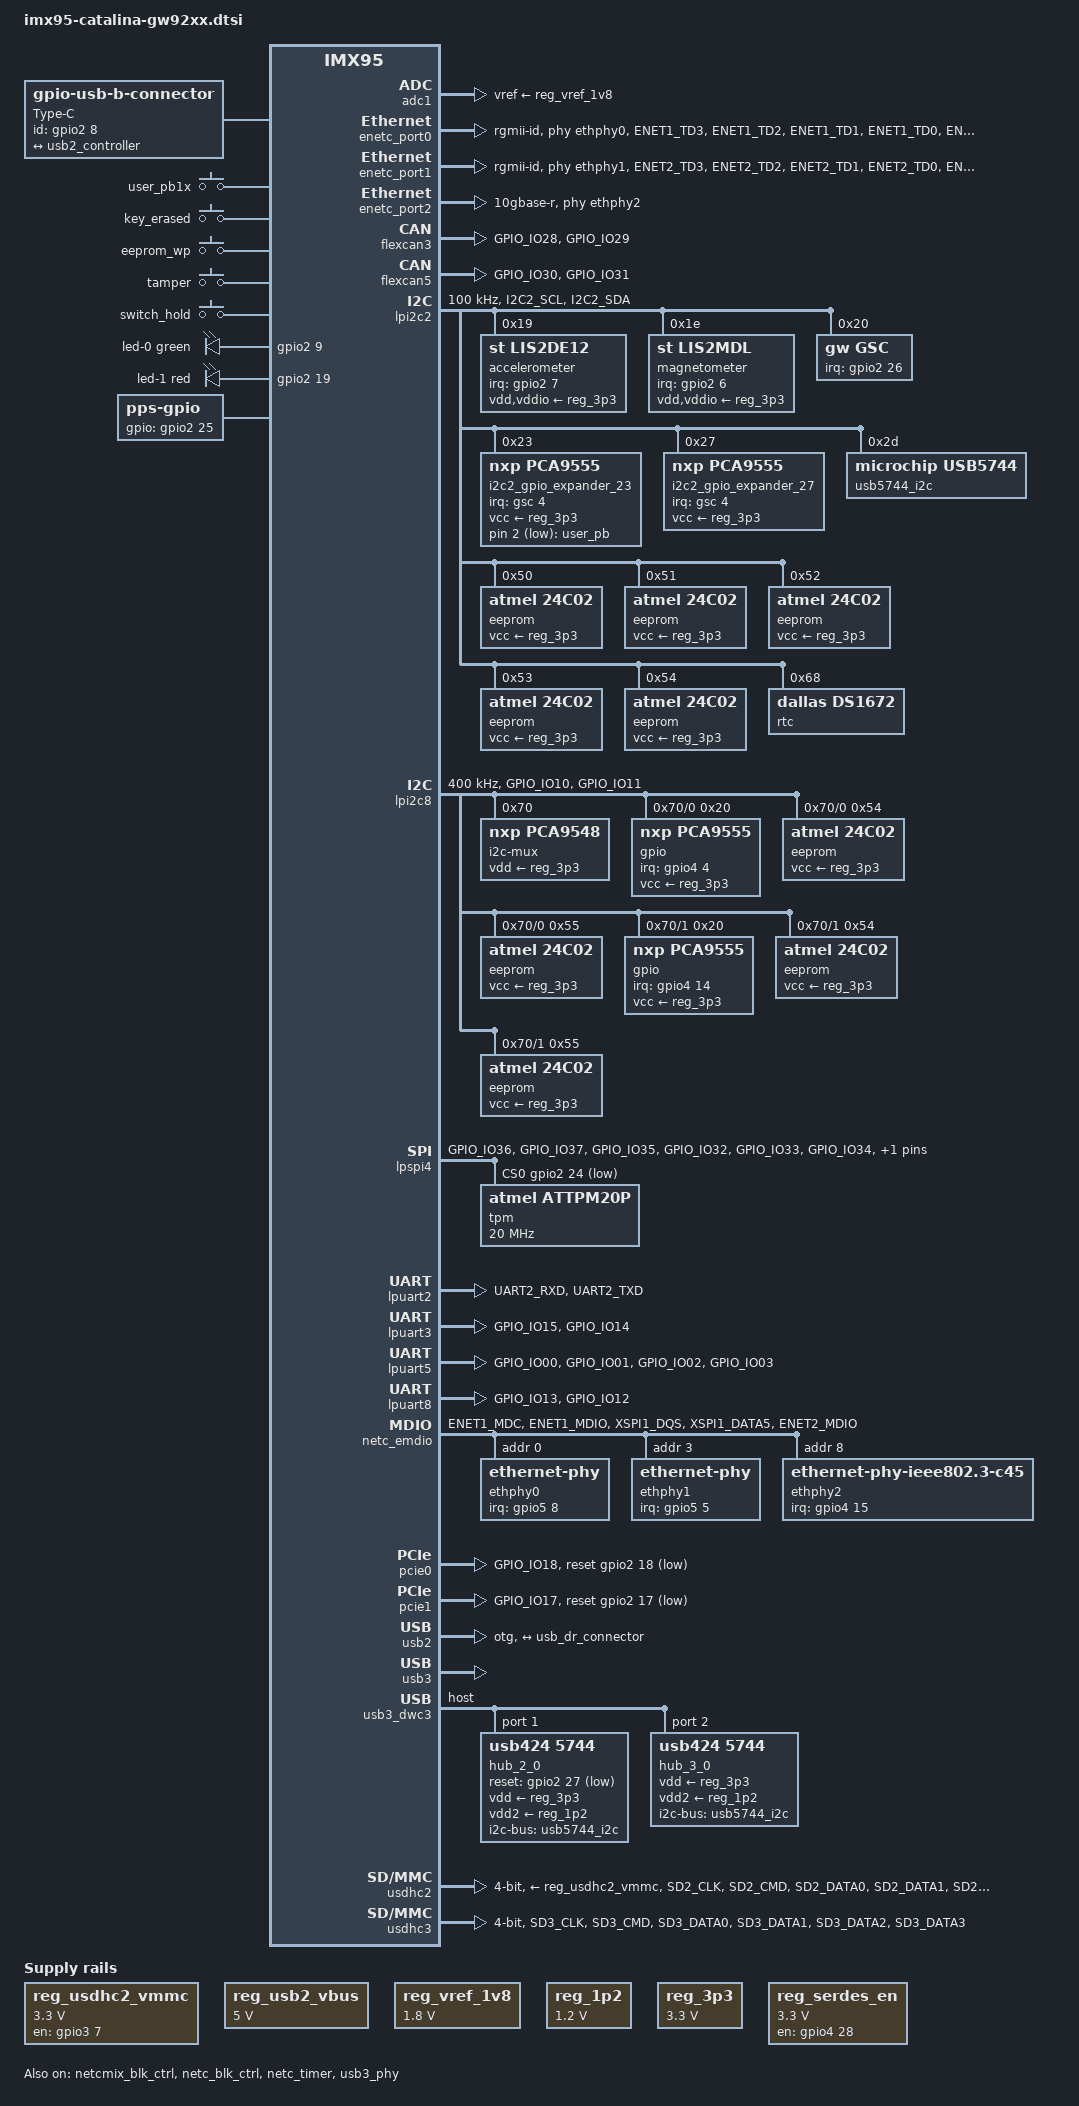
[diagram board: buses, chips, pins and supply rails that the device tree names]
// SPDX-License-Identifier: (GPL-2.0+ OR MIT)
/*
 * Copyright 2025 Gateworks Corporation
 */

#include <dt-bindings/gpio/gpio.h>
#include <dt-bindings/leds/common.h>
#include <dt-bindings/net/ti-dp83867.h>
#include <dt-bindings/pwm/pwm.h>

/ {
	aliases {
		ethernet0 = &enetc_port0;
		ethernet1 = &enetc_port1;
		ethernet2 = &enetc_port2;
		fsa1 = &fsa0;
		fsa2 = &fsa1;
		gpio0 = &gpio1;
		gpio1 = &gpio2;
		gpio2 = &gpio3;
		gpio3 = &gpio4;
		gpio4 = &gpio5;
		i2c0 = &lpi2c1;
		i2c1 = &lpi2c2;
		i2c2 = &lpi2c3;
		i2c3 = &lpi2c4;
		i2c4 = &lpi2c5;
		i2c5 = &lpi2c6;
		i2c6 = &lpi2c7;
		i2c7 = &lpi2c8;
		mmc0 = &usdhc1;
		mmc1 = &usdhc2;
		serial0 = &lpuart1;
		serial1 = &lpuart2;
		serial2 = &lpuart3;
		serial3 = &lpuart4;
		serial4 = &lpuart5;
		serial5 = &lpuart6;
		serial6 = &lpuart7;
		serial7 = &lpuart8;
	};

	connector {
		pinctrl-names = "default";
		pinctrl-0 = <&pinctrl_usbcon>;
		compatible = "gpio-usb-b-connector", "usb-b-connector";
		type = "micro";
		label = "Type-C";
		id-gpios = <&gpio2 8 GPIO_ACTIVE_HIGH>;

		port {
			usb_dr_connector: endpoint {
				remote-endpoint = <&usb2_controller>;
			};
		};
	};

	gpio-keys {
		compatible = "gpio-keys";

		key-0 {
			label = "user_pb";
			gpios = <&i2c2_gpio_expander_23 2 GPIO_ACTIVE_LOW>;
			linux,code = <BTN_0>;
		};

		key-1 {
			label = "user_pb1x";
			linux,code = <BTN_1>;
			interrupt-parent = <&gsc>;
			interrupts = <0>;
		};

		key-2 {
			label = "key_erased";
			linux,code = <BTN_2>;
			interrupt-parent = <&gsc>;
			interrupts = <1>;
		};

		key-3 {
			label = "eeprom_wp";
			linux,code = <BTN_3>;
			interrupt-parent = <&gsc>;
			interrupts = <2>;
		};

		key-4 {
			label = "tamper";
			linux,code = <BTN_4>;
			interrupt-parent = <&gsc>;
			interrupts = <5>;
		};

		key-5 {
			label = "switch_hold";
			linux,code = <BTN_5>;
			interrupt-parent = <&gsc>;
			interrupts = <7>;
		};
	};

	led-controller {
		compatible = "gpio-leds";
		pinctrl-names = "default";
		pinctrl-0 = <&pinctrl_led>;

		led-0 {
			function = LED_FUNCTION_STATUS;
			color = <LED_COLOR_ID_GREEN>;
			gpios = <&gpio2 9 GPIO_ACTIVE_HIGH>;
			default-state = "on";
			linux,default-trigger = "heartbeat";
		};

		led-1 {
			function = LED_FUNCTION_STATUS;
			color = <LED_COLOR_ID_RED>;
			gpios = <&gpio2 19 GPIO_ACTIVE_HIGH>;
			default-state = "off";
		};
	};

	pps {
		compatible = "pps-gpio";
		pinctrl-names = "default";
		pinctrl-0 = <&pinctrl_pps>;
		gpios = <&gpio2 25 GPIO_ACTIVE_HIGH>;
	};

	reg_usdhc2_vmmc: regulator-usdhc2 {
		compatible = "regulator-fixed";
		pinctrl-names = "default";
		pinctrl-0 = <&pinctrl_reg_usdhc2_vmmc>;
		regulator-name = "SD2_3P3";
		regulator-min-microvolt = <3300000>;
		regulator-max-microvolt = <3300000>;
		gpio = <&gpio3 7 GPIO_ACTIVE_HIGH>;
		enable-active-high;
		off-on-delay-us = <12000>;
	};

	reg_usb2_vbus: regulator-usb2-vbus {
		compatible = "regulator-fixed";
		regulator-name = "usb2_vbus";
		regulator-min-microvolt = <5000000>;
		regulator-max-microvolt = <5000000>;
		regulator-always-on;
	};

	reg_vref_1v8: regulator-1p8v {
		compatible = "regulator-fixed";
		regulator-max-microvolt = <1800000>;
		regulator-min-microvolt = <1800000>;
		regulator-name = "+V1.8_SW";
	};

	reg_1p2: regulator-1p2v {
		compatible = "regulator-fixed";
		regulator-max-microvolt = <1200000>;
		regulator-min-microvolt = <1200000>;
		regulator-name = "VDD_1P2";
	};

	reg_3p3: regulator-3p3v {
		compatible = "regulator-fixed";
		regulator-max-microvolt = <3300000>;
		regulator-min-microvolt = <3300000>;
		regulator-name = "VDD_3P3";
	};

	reg_serdes_en: regulator-mac-en {
		compatible = "regulator-fixed";
		pinctrl-names = "default";
		pinctrl-0 = <&pinctrl_serdesen>;
		regulator-name = "mac-en";
		regulator-min-microvolt = <3300000>;
		regulator-max-microvolt = <3300000>;
		gpio = <&gpio4 28 GPIO_ACTIVE_HIGH>;
		enable-active-high;
	};
};

&adc1 {
	vref-supply = <&reg_vref_1v8>;
	status = "okay";
};

/* eth0 */
&enetc_port0 {
	pinctrl-names = "default";
	pinctrl-0 = <&pinctrl_enetc0>;
	phy-handle = <&ethphy0>;
	phy-mode = "rgmii-id";
	status = "okay";
};

/* eth1 */
&enetc_port1 {
	pinctrl-names = "default";
	pinctrl-0 = <&pinctrl_enetc1>;
	phy-handle = <&ethphy1>;
	phy-mode = "rgmii-id";
	status = "okay";
};

/* eth2 */
&enetc_port2 {
	phy-handle = <&ethphy2>;
	phy-mode = "10gbase-r";
	serdes-supply = <&reg_serdes_en>;
	managed = "in-band-status";
	status = "okay";
};

&flexcan3 {
	pinctrl-names = "default";
	pinctrl-0 = <&pinctrl_flexcan3>;
	status = "okay";
};

&flexcan5 {
	pinctrl-names = "default";
	pinctrl-0 = <&pinctrl_flexcan5>;
	status = "okay";
};

&gpio2 {
	gpio-line-names =
		"", "", "", "", "fsa2_gpio1", "fsa2_gpio2", "", "",
		"", "", "", "", "", "", "", "",
		"", "", "", "", "fsa1_alert#", "fsa2_alert#", "fsa1_gpio1", "fsa1_gpio2",
		"", "", "", "", "", "", "", "";
};

&gpio3 {
	gpio-line-names =
		"", "", "", "", "", "", "", "",
		"", "", "", "", "", "", "", "",
		"", "", "", "", "", "", "", "",
		"", "", "", "dio0", "dio1", "", "", "";
};

&gpio5 {
	gpio-line-names =
		"", "", "", "", "", "", "", "",
		"", "", "", "", "", "", "", "",
		"", "", "", "", "", "", "", "",
		"", "", "", "", "", "", "", "";
};

&lpi2c2 {
	clock-frequency = <100000>;
	pinctrl-names = "default";
	pinctrl-0 = <&pinctrl_lpi2c2>;
	status = "okay";

	accelerometer@19 {
		compatible = "st,lis2de12";
		pinctrl-names = "default";
		pinctrl-0 = <&pinctrl_accel>;
		reg = <0x19>;
		st,drdy-int-pin = <1>;
		interrupt-parent = <&gpio2>;
		interrupts = <7 IRQ_TYPE_LEVEL_LOW>;
		vdd-supply = <&reg_3p3>;
		vddio-supply = <&reg_3p3>;
	};

	magnetometer@1e {
		compatible = "st,lis2mdl";
		reg = <0x1e>;
		pinctrl-names = "default";
		pinctrl-0 = <&pinctrl_mag>;
		interrupt-parent = <&gpio2>;
		interrupts = <6 IRQ_TYPE_LEVEL_LOW>;
		vdd-supply = <&reg_3p3>;
		vddio-supply = <&reg_3p3>;
	};

	gsc: gsc@20 {
		compatible = "gw,gsc";
		reg = <0x20>;
		pinctrl-names = "default";
		pinctrl-0 = <&pinctrl_gsc>;
		interrupt-parent = <&gpio2>;
		interrupts = <26 IRQ_TYPE_EDGE_FALLING>;
		interrupt-controller;
		#interrupt-cells = <1>;
		#address-cells = <1>;
		#size-cells = <0>;

		adc {
			compatible = "gw,gsc-adc";
			#address-cells = <1>;
			#size-cells = <0>;

			channel@6 {
				gw,mode = <0>;
				reg = <0x06>;
				label = "temp";
			};

			channel@8 {
				gw,mode = <3>;
				reg = <0x08>;
				label = "vdd_bat";
			};

			channel@16 {
				gw,mode = <4>;
				reg = <0x16>;
				label = "fan_tach";
			};

			channel@82 {
				gw,mode = <2>;
				reg = <0x82>;
				label = "vdd_vin";
				gw,voltage-divider-ohms = <22100 1000>;
			};

			channel@88 {
				gw,mode = <2>;
				reg = <0x88>;
				label = "vdd_5p0";
				gw,voltage-divider-ohms = <10000 10000>;
			};

			channel@8c {
				gw,mode = <2>;
				reg = <0x8c>;
				label = "vdd_2p5";
				gw,voltage-divider-ohms = <10000 10000>;
			};

			channel@8e {
				gw,mode = <2>;
				reg = <0x8e>;
				label = "vdd_1p0";
			};

			channel@90 {
				gw,mode = <2>;
				reg = <0x90>;
				label = "vdd_2p0";
			};

			channel@92 {
				gw,mode = <2>;
				reg = <0x92>;
				label = "vdd_1p8";
			};

			channel@98 {
				gw,mode = <2>;
				reg = <0x98>;
				label = "vdd_1p2";
			};

			channel@9a {
				gw,mode = <2>;
				reg = <0x9a>;
				label = "vdd_0p7";
			};

			channel@a2 {
				gw,mode = <2>;
				reg = <0xa2>;
				label = "vdd_gsc";
				gw,voltage-divider-ohms = <10000 10000>;
			};
		};

		fan-controller@0 {
			compatible = "gw,gsc-fan";
			reg = <0x0a>;
		};
	};

	i2c2_gpio_expander_23: gpio@23 {
		compatible = "nxp,pca9555";
		reg = <0x23>;
		gpio-controller;
		#gpio-cells = <2>;
		interrupt-parent = <&gsc>;
		interrupts = <4>;
		vcc-supply = <&reg_3p3>;
	};

	i2c2_gpio_expander_27: gpio@27 {
		compatible = "nxp,pca9555";
		reg = <0x27>;
		gpio-controller;
		#gpio-cells = <2>;
		interrupt-parent = <&gsc>;
		interrupts = <4>;
		vcc-supply = <&reg_3p3>;

		gpio-line-names =
			"fsa1_pen", "fsa2_pen", "", "", "fsa1_present#", "fsa2_present#", "", "",
			"fsa1_gpio3", "fsa2_gpio3", "", "", "uart_term", "uart_rs485", "uart_half", "";
	};

	usb5744_i2c: usbhub@2d {
		compatible = "microchip,usb5744";
		reg = <0x2d>;
	};

	eeprom@50 {
		compatible = "atmel,24c02";
		reg = <0x50>;
		pagesize = <16>;
		vcc-supply = <&reg_3p3>;
	};

	eeprom@51 {
		compatible = "atmel,24c02";
		reg = <0x51>;
		pagesize = <16>;
		vcc-supply = <&reg_3p3>;
	};

	eeprom@52 {
		compatible = "atmel,24c02";
		reg = <0x52>;
		pagesize = <16>;
		vcc-supply = <&reg_3p3>;
	};

	eeprom@53 {
		compatible = "atmel,24c02";
		reg = <0x53>;
		pagesize = <16>;
		vcc-supply = <&reg_3p3>;
	};

	eeprom@54 {
		compatible = "atmel,24c02";
		reg = <0x54>;
		pagesize = <16>;
		vcc-supply = <&reg_3p3>;
	};

	rtc@68 {
		compatible = "dallas,ds1672";
		reg = <0x68>;
	};
};

&lpi2c8 {
	clock-frequency = <400000>;
	pinctrl-names = "default";
	pinctrl-0 = <&pinctrl_lpi2c8>;
	status = "okay";

	i2c-mux@70 {
		compatible = "nxp,pca9548";
		reg = <0x70>;
		#address-cells = <1>;
		#size-cells = <0>;
		vdd-supply = <&reg_3p3>;

		/* J32 FSA2 */
		fsa1: i2c@0 {
			reg = <0>;
			pinctrl-names = "default";
			pinctrl-0 = <&pinctrl_fsa2i2c>;
			#address-cells = <1>;
			#size-cells = <0>;

			gpio@20 {
				compatible = "nxp,pca9555";
				reg = <0x20>;
				interrupt-parent = <&gpio4>;
				interrupts = <4 IRQ_TYPE_EDGE_FALLING>;
				interrupt-controller;
				#interrupt-cells = <2>;
				gpio-controller;
				#gpio-cells = <2>;
				vcc-supply = <&reg_3p3>;
			};

			eeprom@54 {
				compatible = "atmel,24c02";
				reg = <0x54>;
				pagesize = <16>;
				vcc-supply = <&reg_3p3>;
			};

			eeprom@55 {
				compatible = "atmel,24c02";
				reg = <0x55>;
				pagesize = <16>;
				vcc-supply = <&reg_3p3>;
			};
		};

		/* J31 FSA1 */
		fsa0: i2c@1 {
			reg = <1>;
			pinctrl-names = "default";
			pinctrl-0 = <&pinctrl_fsa1i2c>;
			#address-cells = <1>;
			#size-cells = <0>;

			gpio@20 {
				compatible = "nxp,pca9555";
				reg = <0x20>;
				interrupt-parent = <&gpio4>;
				interrupts = <14 IRQ_TYPE_EDGE_FALLING>;
				interrupt-controller;
				#interrupt-cells = <2>;
				gpio-controller;
				#gpio-cells = <2>;
				vcc-supply = <&reg_3p3>;
			};

			eeprom@54 {
				compatible = "atmel,24c02";
				reg = <0x54>;
				pagesize = <16>;
				vcc-supply = <&reg_3p3>;
			};

			eeprom@55 {
				compatible = "atmel,24c02";
				reg = <0x55>;
				pagesize = <16>;
				vcc-supply = <&reg_3p3>;
			};
		};

		/* J11 */
		i2c_j11: i2c@7 {
			reg = <7>;
			#address-cells = <1>;
			#size-cells = <0>;
		};
	};
};

&lpspi4 {
	pinctrl-names = "default";
	pinctrl-0 = <&pinctrl_lpspi4>;
	cs-gpios = <&gpio2 24 GPIO_ACTIVE_LOW>, /* CS0 TPM */
		   <&gpio5 14 GPIO_ACTIVE_LOW>, /* CS1 FSA1 */
		   <&gpio5 13 GPIO_ACTIVE_LOW>, /* CS2 FSA2 */
		   <&gpio5 12 GPIO_ACTIVE_LOW>; /* CS3 J7 */
	status = "okay";

	tpm@0 {
		compatible = "atmel,attpm20p", "tcg,tpm_tis-spi";
		reg = <0x0>;
		spi-max-frequency = <20000000>;
	};
};

/* J12 2-wire UART or RTS/CTS for UART1 */
&lpuart2 {
	pinctrl-names = "default";
	pinctrl-0 = <&pinctrl_uart2>;
	status = "okay";
};

/* GPS */
&lpuart3 {
	pinctrl-names = "default";
	pinctrl-0 = <&pinctrl_uart3>;
	status = "okay";
};

/* FSA2 UART */
&lpuart5 {
	pinctrl-names = "default";
	pinctrl-0 = <&pinctrl_uart5>;
	uart-has-rtscts;
	status = "okay";
};

/* J11: off-board */
&lpuart8 {
	pinctrl-names = "default";
	pinctrl-0 = <&pinctrl_uart8>;
	status = "okay";
};

&netcmix_blk_ctrl {
	status = "okay";
};

&netc_blk_ctrl {
	status = "okay";
};

&netc_timer {
	status = "okay";
};

&netc_emdio {
	pinctrl-names = "default";
	pinctrl-0 = <&pinctrl_emdio>;
	status = "okay";

	ethphy0: ethernet-phy@0 {
		reg = <0>;
		interrupt-parent = <&gpio5>;
		interrupts = <8 IRQ_TYPE_LEVEL_LOW>;
		ti,clk-output-sel = <DP83867_CLK_O_SEL_OFF>;
		tx-fifo-depth = <DP83867_PHYCR_FIFO_DEPTH_4_B_NIB>;
		rx-fifo-depth = <DP83867_PHYCR_FIFO_DEPTH_4_B_NIB>;
		ti,rx-internal-delay = <DP83867_RGMIIDCTL_2_00_NS>;
		ti,tx-internal-delay = <DP83867_RGMIIDCTL_2_00_NS>;

		leds {
			#address-cells = <1>;
			#size-cells = <0>;

			led@1 {
				reg = <1>;
				color = <LED_COLOR_ID_AMBER>;
				function = LED_FUNCTION_LAN;
				default-state = "keep";
			};

			led@2 {
				reg = <2>;
				color = <LED_COLOR_ID_GREEN>;
				function = LED_FUNCTION_LAN;
				default-state = "keep";
			};
		};
	};

	ethphy1: ethernet-phy@3 {
		reg = <3>;
		interrupt-parent = <&gpio5>;
		interrupts = <5 IRQ_TYPE_LEVEL_LOW>;
		ti,clk-output-sel = <DP83867_CLK_O_SEL_OFF>;
		tx-fifo-depth = <DP83867_PHYCR_FIFO_DEPTH_4_B_NIB>;
		rx-fifo-depth = <DP83867_PHYCR_FIFO_DEPTH_4_B_NIB>;
		ti,rx-internal-delay = <DP83867_RGMIIDCTL_2_00_NS>;
		ti,tx-internal-delay = <DP83867_RGMIIDCTL_2_00_NS>;

		leds {
			#address-cells = <1>;
			#size-cells = <0>;

			led@1 {
				reg = <1>;
				color = <LED_COLOR_ID_AMBER>;
				function = LED_FUNCTION_LAN;
				default-state = "keep";
			};

			led@2 {
				reg = <2>;
				color = <LED_COLOR_ID_GREEN>;
				function = LED_FUNCTION_LAN;
				default-state = "keep";
			};
		};
	};

	ethphy2: ethernet-phy@8 {
		compatible = "ethernet-phy-ieee802.3-c45";
		interrupt-parent = <&gpio4>;
		interrupts = <15 IRQ_TYPE_LEVEL_LOW>;
		reg = <8>;

		leds {
			#address-cells = <1>;
			#size-cells = <0>;

			led@0 {
				reg = <0>;
				color = <LED_COLOR_ID_AMBER>;
				function = LED_FUNCTION_LAN;
				default-state = "keep";
			};

			led@2 {
				reg = <2>;
				color = <LED_COLOR_ID_GREEN>;
				function = LED_FUNCTION_LAN;
				default-state = "keep";
			};
		};
	};
};

/* FSA2 PCIe */
&pcie0 {
	pinctrl-0 = <&pinctrl_pcie0>;
	pinctrl-names = "default";
	reset-gpio = <&gpio2 18 GPIO_ACTIVE_LOW>;
	status = "okay";
};

/* FSA1 PCIe */
&pcie1 {
	pinctrl-0 = <&pinctrl_pcie1>;
	pinctrl-names = "default";
	reset-gpio = <&gpio2 17 GPIO_ACTIVE_LOW>;
	status = "okay";
};

/* USB2 host controller (USB2.0) */
&usb2 {
	dr_mode = "otg";
	hnp-disable;
	srp-disable;
	adp-disable;
	usb-role-switch;
	role-switch-default-mode = "peripheral";
	disable-over-current;
	status = "okay";

	port {
		usb2_controller: endpoint {
			remote-endpoint = <&usb_dr_connector>;
		};
	};
};

&usbphynop {
	vbus-supply = <&reg_usb2_vbus>;
};

/* USB1 host controller (USB3.0) */
&usb3 {
	fsl,permanently-attached;
	fsl,disable-port-power-control;
	status = "okay";
};

/* USB3.0 Hub */
&usb3_dwc3 {
	dr_mode = "host";
	status = "okay";

	hub_2_0: hub@1 {
		pinctrl-names = "default";
		pinctrl-0 = <&pinctrl_usbhubrst>;
		compatible = "usb424,5744";
		reg = <1>;
		peer-hub = <&hub_3_0>;
		i2c-bus = <&usb5744_i2c>;
		reset-gpios = <&gpio2 27 GPIO_ACTIVE_LOW>;
		vdd-supply = <&reg_3p3>;
		vdd2-supply = <&reg_1p2>;
	};

	hub_3_0: hub@2 {
		compatible = "usb424,5744";
		reg = <2>;
		peer-hub = <&hub_2_0>;
		i2c-bus = <&usb5744_i2c>;
		vdd-supply = <&reg_3p3>;
		vdd2-supply = <&reg_1p2>;
	};
};

&usb3_phy {
	fsl,phy-tx-preemp-amp-tune-microamp = <600>;
	vbus-supply = <&reg_3p3>;
	status = "okay";
};

/* miscoSD 1.8V/3.3V */
&usdhc2 {
	pinctrl-names = "default", "state_100mhz", "state_200mhz", "sleep";
	pinctrl-0 = <&pinctrl_usdhc2>, <&pinctrl_usdhc2_gpio>;
	pinctrl-1 = <&pinctrl_usdhc2_100mhz>, <&pinctrl_usdhc2_gpio>;
	pinctrl-2 = <&pinctrl_usdhc2_200mhz>, <&pinctrl_usdhc2_gpio>;
	pinctrl-3 = <&pinctrl_usdhc2>, <&pinctrl_usdhc2_gpio>;
	cd-gpios = <&gpio3 0 GPIO_ACTIVE_HIGH>;
	vmmc-supply = <&reg_usdhc2_vmmc>;
	bus-width = <4>;
	status = "okay";
};

/* FSA2 SDIO 1.8V */
&usdhc3 {
	pinctrl-names = "default", "state_100mhz", "state_200mhz", "sleep";
	pinctrl-0 = <&pinctrl_usdhc3>;
	pinctrl-1 = <&pinctrl_usdhc3_100mhz>;
	pinctrl-2 = <&pinctrl_usdhc3_200mhz>;
	pinctrl-3 = <&pinctrl_usdhc3>;
	bus-width = <4>;
	status = "okay";
};

&scmi_iomuxc {
	pinctrl-names = "default";
	pinctrl-0 = <&pinctrl_hog>;

	pinctrl_hog: hoggrp {
		fsl,pins = <
			IMX95_PAD_CCM_CLKO1__GPIO3_IO_BIT26	0x502 /* DIO0 */
			IMX95_PAD_CCM_CLKO2__GPIO3_IO_BIT27	0x502 /* DIO1 */
		>;
	};

	pinctrl_accel: accelgrp {
		fsl,pins = <
			IMX95_PAD_GPIO_IO07__GPIO2_IO_BIT7			0x31e
		>;
	};

	pinctrl_emdio: emdiogrp {
		fsl,pins = <
			IMX95_PAD_ENET1_MDC__NETCMIX_TOP_NETC_MDC		0x50e
			IMX95_PAD_ENET1_MDIO__NETCMIX_TOP_NETC_MDIO		0x90e
			IMX95_PAD_XSPI1_DQS__GPIO5_IO_BIT8			0x31e /* ETH0_INT# */
			IMX95_PAD_XSPI1_DATA5__GPIO5_IO_BIT5			0x31e /* ETH1_INT# */
			IMX95_PAD_ENET2_MDIO__GPIO4_IO_BIT15			0x31e /* ETH2_INT# */
#if 0 // hidden from Linux
			IMX95_PAD_XSPI1_DATA3__GPIO5_IO_BIT3			0x31e /* ETH0_RST# */
			IMX95_PAD_ENET2_MDC__GPIO4_IO_BIT14			0x31e /* ETH1_RST# */
			IMX95_PAD_XSPI1_DATA2__GPIO5_IO_BIT2			0x31e /* ETH2_RST# */
#endif
		>;
	};

	pinctrl_enetc0: enetc0grp {
		fsl,pins = <
			IMX95_PAD_ENET1_TD3__NETCMIX_TOP_ETH0_RGMII_TD3		0x50e
			IMX95_PAD_ENET1_TD2__NETCMIX_TOP_ETH0_RGMII_TD2		0x50e
			IMX95_PAD_ENET1_TD1__NETCMIX_TOP_ETH0_RGMII_TD1		0x50e
			IMX95_PAD_ENET1_TD0__NETCMIX_TOP_ETH0_RGMII_TD0		0x50e
			IMX95_PAD_ENET1_TX_CTL__NETCMIX_TOP_ETH0_RGMII_TX_CTL	0x57e
			IMX95_PAD_ENET1_TXC__NETCMIX_TOP_ETH0_RGMII_TX_CLK	0x58e
			IMX95_PAD_ENET1_RX_CTL__NETCMIX_TOP_ETH0_RGMII_RX_CTL	0x57e
			IMX95_PAD_ENET1_RXC__NETCMIX_TOP_ETH0_RGMII_RX_CLK	0x58e
			IMX95_PAD_ENET1_RD0__NETCMIX_TOP_ETH0_RGMII_RD0		0x57e
			IMX95_PAD_ENET1_RD1__NETCMIX_TOP_ETH0_RGMII_RD1		0x57e
			IMX95_PAD_ENET1_RD2__NETCMIX_TOP_ETH0_RGMII_RD2		0x57e
			IMX95_PAD_ENET1_RD3__NETCMIX_TOP_ETH0_RGMII_RD3		0x57e
		>;
	};

	pinctrl_enetc1: enetc1grp {
		fsl,pins = <
			IMX95_PAD_ENET2_TD3__NETCMIX_TOP_ETH1_RGMII_TD3		0x57e
			IMX95_PAD_ENET2_TD2__NETCMIX_TOP_ETH1_RGMII_TD2		0x57e
			IMX95_PAD_ENET2_TD1__NETCMIX_TOP_ETH1_RGMII_TD1		0x57e
			IMX95_PAD_ENET2_TD0__NETCMIX_TOP_ETH1_RGMII_TD0		0x57e
			IMX95_PAD_ENET2_TX_CTL__NETCMIX_TOP_ETH1_RGMII_TX_CTL	0x57e
			IMX95_PAD_ENET2_TXC__NETCMIX_TOP_ETH1_RGMII_TX_CLK	0x58e
			IMX95_PAD_ENET2_RX_CTL__NETCMIX_TOP_ETH1_RGMII_RX_CTL	0x57e
			IMX95_PAD_ENET2_RXC__NETCMIX_TOP_ETH1_RGMII_RX_CLK	0x58e
			IMX95_PAD_ENET2_RD0__NETCMIX_TOP_ETH1_RGMII_RD0		0x57e
			IMX95_PAD_ENET2_RD1__NETCMIX_TOP_ETH1_RGMII_RD1		0x57e
			IMX95_PAD_ENET2_RD2__NETCMIX_TOP_ETH1_RGMII_RD2		0x57e
			IMX95_PAD_ENET2_RD3__NETCMIX_TOP_ETH1_RGMII_RD3		0x57e
		>;
	};

	pinctrl_flexcan3: flexcan3grp {
		fsl,pins = <
			IMX95_PAD_GPIO_IO28__CAN3_TX				0x31e
			IMX95_PAD_GPIO_IO29__CAN3_RX				0x31e
		>;
	};

	pinctrl_flexcan5: flexcan5grp {
		fsl,pins = <
			IMX95_PAD_GPIO_IO30__CAN5_TX				0x31e
			IMX95_PAD_GPIO_IO31__CAN5_RX				0x31e
		>;
	};

	pinctrl_fsa1i2c: fsa1i2cgrp {
		fsl,pins = <
			IMX95_PAD_GPIO_IO20__GPIO2_IO_BIT20			0x31e /* ALERT# */
			IMX95_PAD_GPIO_IO22__GPIO2_IO_BIT22			0x51e /* GPIO1 */
			IMX95_PAD_GPIO_IO23__GPIO2_IO_BIT23			0x51e /* GPIO2 */
		>;
	};

	pinctrl_fsa2i2c: fsa2i2cgrp {
		fsl,pins = <
			IMX95_PAD_GPIO_IO21__GPIO2_IO_BIT21			0x31e /* ALERT# */
			IMX95_PAD_GPIO_IO04__GPIO2_IO_BIT4			0x31e /* GPIO1 */
			IMX95_PAD_GPIO_IO05__GPIO2_IO_BIT5			0x31e /* GPIO2 */
		>;
	};

	pinctrl_gsc: gscgrp {
		fsl,pins = <
			IMX95_PAD_GPIO_IO26__GPIO2_IO_BIT26			0x31e
		>;
	};

	pinctrl_led: ledgrp {
		fsl,pins = <
			IMX95_PAD_GPIO_IO09__GPIO2_IO_BIT9	0x2
			IMX95_PAD_GPIO_IO19__GPIO2_IO_BIT19	0x2
		>;
	};

	pinctrl_lpi2c2: lpi2c2grp {
		fsl,pins = <
			IMX95_PAD_I2C2_SCL__AONMIX_TOP_LPI2C2_SCL	0x40000b9e
			IMX95_PAD_I2C2_SDA__AONMIX_TOP_LPI2C2_SDA	0x40000b9e
		>;
	};

	pinctrl_lpi2c8: lpi2c8grp {
		fsl,pins = <
			IMX95_PAD_GPIO_IO10__LPI2C8_SDA			0x40000b9e
			IMX95_PAD_GPIO_IO11__LPI2C8_SCL			0x40000b9e
		>;
	};

	pinctrl_lpspi4: lpspi4grp {
		fsl,pins = <
			IMX95_PAD_GPIO_IO36__LPSPI4_SOUT		0x51e
			IMX95_PAD_GPIO_IO37__LPSPI4_SCK			0x51e
			IMX95_PAD_GPIO_IO35__LPSPI4_SIN			0x51e
			IMX95_PAD_GPIO_IO32__GPIO5_IO_BIT12		0x31e
			IMX95_PAD_GPIO_IO33__GPIO5_IO_BIT13		0x31e
			IMX95_PAD_GPIO_IO34__GPIO5_IO_BIT14		0x31e
			IMX95_PAD_GPIO_IO24__GPIO2_IO_BIT24		0x31e
		>;
	};

	pinctrl_mag: maggrp {
		fsl,pins = <
			IMX95_PAD_GPIO_IO06__GPIO2_IO_BIT6		0x31e
		>;
	};

	pinctrl_pcie0: pcie0grp {
		fsl,pins = <
			IMX95_PAD_GPIO_IO18__GPIO2_IO_BIT18		0x51e /* PERST# */
		>;
	};

	pinctrl_pcie1: pcie1grp {
		fsl,pins = <
			IMX95_PAD_GPIO_IO17__GPIO2_IO_BIT17		0x51e /* PERST# */
		>;
	};

	pinctrl_pps: ppsgrp {
		fsl,pins = <
			IMX95_PAD_GPIO_IO25__GPIO2_IO_BIT25		0x31e
		>;
	};

	pinctrl_reg_usdhc2_vmmc: regusdhc2vmmcgrp {
		fsl,pins = <
			IMX95_PAD_SD2_RESET_B__GPIO3_IO_BIT7		0x31e
		>;
	};

	pinctrl_serdesen: serdesengrp {
		fsl,pins = <
			IMX95_PAD_CCM_CLKO3__GPIO4_IO_BIT28		0x31e
		>;
	};

	pinctrl_uart2: uart2grp {
		fsl,pins = <
			IMX95_PAD_UART2_RXD__AONMIX_TOP_LPUART2_RX	0x31e
			IMX95_PAD_UART2_TXD__AONMIX_TOP_LPUART2_TX	0x31e
		>;
	};

	pinctrl_uart3: uart3grp {
		fsl,pins = <
			IMX95_PAD_GPIO_IO15__LPUART3_RX			0x31e
			IMX95_PAD_GPIO_IO14__LPUART3_TX			0x31e
		>;
	};

	pinctrl_uart5: uart5grp {
		fsl,pins = <
			IMX95_PAD_GPIO_IO00__LPUART5_TX			0x31e
			IMX95_PAD_GPIO_IO01__LPUART5_RX			0x31e
			IMX95_PAD_GPIO_IO02__LPUART5_CTS_B		0x31e
			IMX95_PAD_GPIO_IO03__LPUART5_RTS_B		0x31e
		>;
	};

	pinctrl_uart8: uart8grp {
		fsl,pins = <
			IMX95_PAD_GPIO_IO13__LPUART8_RX			0x31e
			IMX95_PAD_GPIO_IO12__LPUART8_TX			0x31e
		>;
	};

	pinctrl_usbcon: usbcongrp {
		fsl,pins = <
			IMX95_PAD_GPIO_IO08__GPIO2_IO_BIT8		0x31e
		>;
	};

	pinctrl_usbhubrst: usbhubrstgrp {
		fsl,pins = <
			IMX95_PAD_GPIO_IO27__GPIO2_IO_BIT27		0x31e
		>;
	};

	pinctrl_usdhc2_gpio: usdhc2gpiogrp {
		fsl,pins = <
			IMX95_PAD_SD2_CD_B__GPIO3_IO_BIT0		0x31e
		>;
	};

	pinctrl_usdhc2: usdhc2grp {
		fsl,pins = <
			IMX95_PAD_SD2_CLK__USDHC2_CLK			0x158e
			IMX95_PAD_SD2_CMD__USDHC2_CMD			0x138e
			IMX95_PAD_SD2_DATA0__USDHC2_DATA0		0x138e
			IMX95_PAD_SD2_DATA1__USDHC2_DATA1		0x138e
			IMX95_PAD_SD2_DATA2__USDHC2_DATA2		0x138e
			IMX95_PAD_SD2_DATA3__USDHC2_DATA3		0x138e
			IMX95_PAD_SD2_VSELECT__USDHC2_VSELECT		0x51e
		>;
	};

	pinctrl_usdhc2_100mhz: usdhc2-100mhzgrp {
		fsl,pins = <
			IMX95_PAD_SD2_CLK__USDHC2_CLK			0x158e
			IMX95_PAD_SD2_CMD__USDHC2_CMD			0x138e
			IMX95_PAD_SD2_DATA0__USDHC2_DATA0		0x138e
			IMX95_PAD_SD2_DATA1__USDHC2_DATA1		0x138e
			IMX95_PAD_SD2_DATA2__USDHC2_DATA2		0x138e
			IMX95_PAD_SD2_DATA3__USDHC2_DATA3		0x138e
			IMX95_PAD_SD2_VSELECT__USDHC2_VSELECT		0x51e
		>;
	};

	pinctrl_usdhc2_200mhz: usdhc2-200mhzgrp {
		fsl,pins = <
			IMX95_PAD_SD2_CLK__USDHC2_CLK			0x158e
			IMX95_PAD_SD2_CMD__USDHC2_CMD			0x138e
			IMX95_PAD_SD2_DATA0__USDHC2_DATA0		0x138e
			IMX95_PAD_SD2_DATA1__USDHC2_DATA1		0x138e
			IMX95_PAD_SD2_DATA2__USDHC2_DATA2		0x138e
			IMX95_PAD_SD2_DATA3__USDHC2_DATA3		0x138e
			IMX95_PAD_SD2_VSELECT__USDHC2_VSELECT		0x51e
		>;
	};

	pinctrl_usdhc3: usdhc3grp {
		fsl,pins = <
			IMX95_PAD_SD3_CLK__USDHC3_CLK			0x158e
			IMX95_PAD_SD3_CMD__USDHC3_CMD			0x138e
			IMX95_PAD_SD3_DATA0__USDHC3_DATA0		0x138e
			IMX95_PAD_SD3_DATA1__USDHC3_DATA1		0x138e
			IMX95_PAD_SD3_DATA2__USDHC3_DATA2		0x138e
			IMX95_PAD_SD3_DATA3__USDHC3_DATA3		0x138e
		>;
	};

	pinctrl_usdhc3_100mhz: usdhc3-100mhzgrp {
		fsl,pins = <
			IMX95_PAD_SD3_CLK__USDHC3_CLK			0x158e
			IMX95_PAD_SD3_CMD__USDHC3_CMD			0x138e
			IMX95_PAD_SD3_DATA0__USDHC3_DATA0		0x138e
			IMX95_PAD_SD3_DATA1__USDHC3_DATA1		0x138e
			IMX95_PAD_SD3_DATA2__USDHC3_DATA2		0x138e
			IMX95_PAD_SD3_DATA3__USDHC3_DATA3		0x138e
		>;
	};

	pinctrl_usdhc3_200mhz: usdhc3-200mhzgrp {
		fsl,pins = <
			IMX95_PAD_SD3_CLK__USDHC3_CLK			0x158e
			IMX95_PAD_SD3_CMD__USDHC3_CMD			0x138e
			IMX95_PAD_SD3_DATA0__USDHC3_DATA0		0x138e
			IMX95_PAD_SD3_DATA1__USDHC3_DATA1		0x138e
			IMX95_PAD_SD3_DATA2__USDHC3_DATA2		0x138e
			IMX95_PAD_SD3_DATA3__USDHC3_DATA3		0x138e
		>;
	};
};
